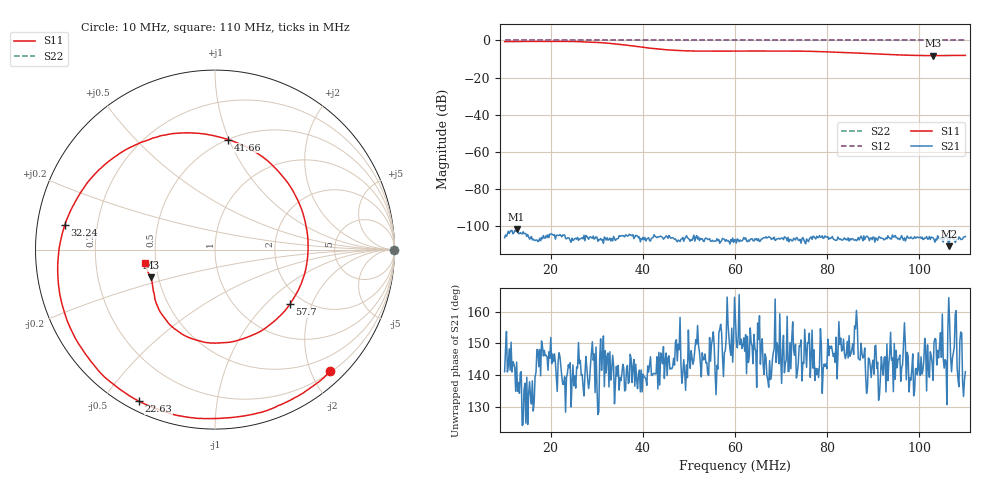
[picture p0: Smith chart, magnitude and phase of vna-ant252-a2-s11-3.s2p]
! Anritsu VNA Master:  Model: MS2034B/10/19/501
! SN:  1337062
! /bd0/ovro-jan-2016/vna-jan/vna-ant252-a2-s11-3.s2p
! Existing Calibration Information:
! TYPE:  Current Settings,  Active Cal Settings
! TIME:  01/13/2016 06:17:48 PM,  01/13/2016 06:15:05 PM
! INTERNAL TEMP:  41.8 C,  42.3 C
! # POINTS:  500,  500
! START FREQ:  10.000 MHz,  10.000 MHz
! STOP FREQ:  110.000 MHz,  110.000 MHz
! SOURCE POWER:  High,  High
! IFBW:  100 Hz,  100 Hz
! AVG FACTOR:  4 ,  4
! REF PLANE 1:  0 mm,  0 mm
! REF PLANE 2:  0 mm,  0 mm
! CAL TYPE:  Full S11,  Full S11
! CAL METHOD:  SOLT,  SOLT
! CAL LINE TYPE:  Coax,  Coax
! DUT PORT 1:  K-Conn(M),  K-Conn(M)
! DUT PORT 2:  N-Conn(M),  N-Conn(M)
! CAL STATUS:  OK: Accuracy High,  --
# GHZ S DB R 50.0
! FREQ.GHZ  S11DB  S11A  S21DB  S21A  S12DB  S12A  S22DB  S22A
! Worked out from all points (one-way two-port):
!   500 points, 10 MHz to 110 MHz, reference 50 ohm
!   highest |S21| = -101.55 dB at 12.61 MHz (marker M1); lowest = -110.7 dB at 106.4 MHz (marker M2)
!   lowest |S11| = -8.2 dB at 103 MHz (marker M3), VSWR 2.28, Z = 22.7 - j8.29 ohm
!   |S11| at or under -10 dB: nowhere
!   |S22| runs from 0.0 to 0.0 dB; largest |S21 - S12| = 1
!   S11 on the Smith chart (normalised r, x): 10 MHz: 0.22, -2.31; 22.63 MHz: 0.04, -0.62; 32.24 MHz: 0.08, +0.08; 41.66 MHz: 0.50, +1.00; 57.7 MHz: 1.70, -1.41; 110 MHz: 0.44, -0.08
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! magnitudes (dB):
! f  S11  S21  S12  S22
! 10 MHz  -0.6  -106.1  0.0  0.0
! 12.61 MHz  -0.6  -101.5  0.0  0.0
! 22.63 MHz  -0.5  -104.6  0.0  0.0
! 26.83 MHz  -0.7  -106.1  0.0  0.0
! 29.44 MHz  -0.9  -106.9  0.0  0.0
! 32.24 MHz  -1.4  -106.1  0.0  0.0
! 35.25 MHz  -2.2  -105.0  0.0  0.0
! 41.66 MHz  -4.2  -107.9  0.0  0.0
! 43.47 MHz  -4.6  -105.8  0.0  0.0
! 45.87 MHz  -5.1  -105.7  0.0  0.0
! 49.48 MHz  -5.6  -105.0  0.0  0.0
! 52.28 MHz  -5.7  -107.7  0.0  0.0
! 57.7 MHz  -5.7  -107.0  0.0  0.0
! 60.1 MHz  -5.7  -107.1  0.0  0.0
! 71.72 MHz  -5.7  -108.3  0.0  0.0
! 76.73 MHz  -5.9  -107.0  0.0  0.0
! 86.55 MHz  -6.8  -107.1  0.0  0.0
! 93.37 MHz  -7.6  -106.0  0.0  0.0
! 98.18 MHz  -8.0  -105.7  0.0  0.0
! 103 MHz  -8.2  -106.1  0.0  0.0
! 106.4 MHz  -8.1  -110.7  0.0  0.0
! 110 MHz  -8.0  -105.4  0.0  0.0
